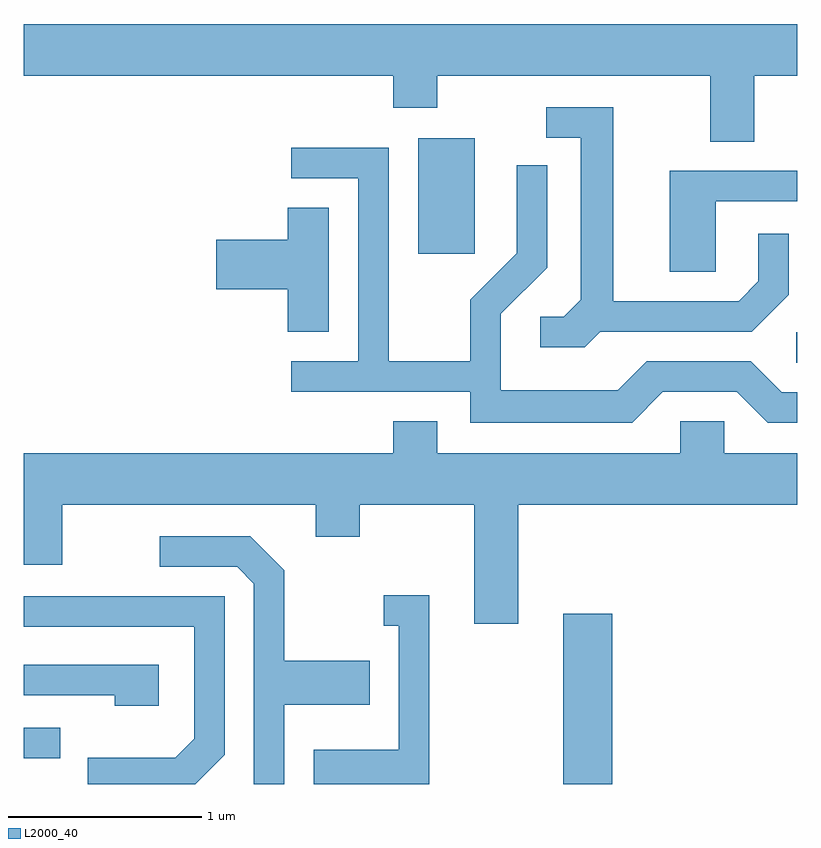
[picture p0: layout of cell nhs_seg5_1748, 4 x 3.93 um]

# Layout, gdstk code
import gdstk
lib = gdstk.Library(unit=1e-6, precision=1e-09)
def R(c, l, rs):  # rectangles x0, y0, x1, y1
    for r in rs: c.add(gdstk.rectangle(r[:2], r[2:], *l))
def P(c, l, *ps):  # polygons
    for p in ps: c.add(gdstk.Polygon(p, *l))
L2000_40 = (2000, 40)

nhs_seg5_1748 = lib.new_cell('nhs_seg5_1748')
R(nhs_seg5_1748, L2000_40, [(240.401,1402.072,240.654,1402.954), (237.611,1402.206,237.798,1402.364), (241.608,1404.251,241.611,1404.409), (239.651,1404.816,239.944,1405.414)])
P(nhs_seg5_1748, L2000_40, [(241.389,1405.736),(241.611,1405.736),(241.611,1406.004),(237.611,1406.004),(237.611,1405.736),(239.521,1405.736),(239.521,1405.571),(239.749,1405.571),(239.749,1405.736),(241.161,1405.736),(241.161,1405.396),(241.389,1405.396)],
  [(240.592,1404.411),(241.377,1404.411),(241.569,1404.604),(241.569,1404.918),(241.411,1404.918),(241.411,1404.672),(241.309,1404.569),(240.659,1404.569),(240.659,1405.574),(240.313,1405.574),(240.313,1405.416),(240.491,1405.416),(240.491,1404.577),(240.404,1404.489),(240.283,1404.489),(240.283,1404.331),(240.512,1404.331)],
  [(240.917,1404.101),(241.299,1404.101),(241.459,1403.941),(241.611,1403.941),(241.611,1404.099),(241.532,1404.099),(241.372,1404.259),(240.834,1404.259),(240.684,1404.109),(240.079,1404.109),(240.079,1404.504),(240.319,1404.744),(240.319,1405.273),(240.161,1405.273),(240.161,1404.817),(239.921,1404.577),(239.921,1404.259),(239.499,1404.259),(239.499,1405.364),(238.993,1405.364),(238.993,1405.206),(239.341,1405.206),(239.341,1404.259),(238.993,1404.259),(238.993,1404.101),(239.921,1404.101),(239.921,1403.941),(240.757,1403.941)],
  [(241.189,1405.086),(241.611,1405.086),(241.611,1405.244),(240.951,1405.244),(240.951,1404.721),(241.189,1404.721)],
  [(239.189,1405.054),(238.976,1405.054),(238.976,1404.889),(238.606,1404.889),(238.606,1404.631),(238.976,1404.631),(238.976,1404.411),(239.189,1404.411)],
  [(240.169,1403.516),(241.611,1403.516),(241.611,1403.784),(241.234,1403.784),(241.234,1403.949),(241.006,1403.949),(241.006,1403.784),(239.749,1403.784),(239.749,1403.949),(239.521,1403.949),(239.521,1403.784),(237.611,1403.784),(237.611,1403.206),(237.809,1403.206),(237.809,1403.516),(239.121,1403.516),(239.121,1403.351),(239.349,1403.351),(239.349,1403.516),(239.941,1403.516),(239.941,1402.901),(240.169,1402.901)],
  [(238.959,1402.481),(239.399,1402.481),(239.399,1402.709),(238.959,1402.709),(238.959,1403.177),(238.782,1403.354),(238.313,1403.354),(238.313,1403.196),(238.714,1403.196),(238.801,1403.109),(238.801,1402.072),(238.959,1402.072)],
  [(239.709,1403.049),(239.473,1403.049),(239.473,1402.891),(239.551,1402.891),(239.551,1402.249),(239.111,1402.249),(239.111,1402.072),(239.709,1402.072)],
  [(238.649,1402.224),(238.649,1403.044),(237.611,1403.044),(237.611,1402.886),(238.491,1402.886),(238.491,1402.307),(238.394,1402.209),(237.941,1402.209),(237.941,1402.072),(238.498,1402.072)],
  [(238.309,1402.689),(237.611,1402.689),(237.611,1402.531),(238.081,1402.531),(238.081,1402.476),(238.309,1402.476)])

lib.write_gds('nhs_seg5_1748.gds')
